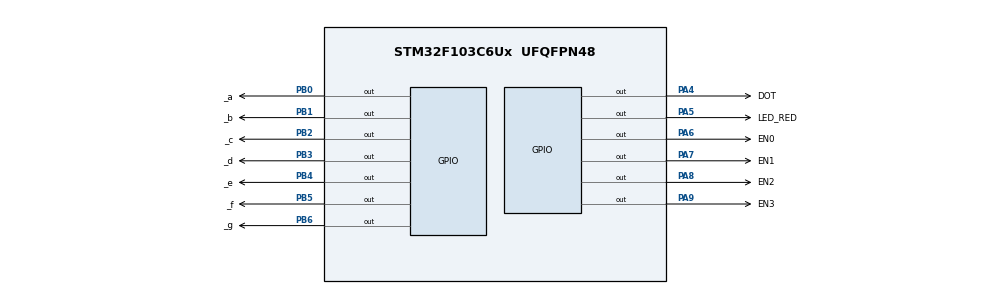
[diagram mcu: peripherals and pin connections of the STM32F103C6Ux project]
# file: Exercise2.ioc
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Mcu.Family=STM32F1
Mcu.Name=STM32F103C6Ux
Mcu.Package=UFQFPN48
NVIC.PriorityGroup=NVIC_PRIORITYGROUP_4
NVIC.TIM2_IRQn=true\:0\:0\:false\:false\:true\:true\:true\:true
PA4.GPIO_Label=DOT
PA4.Signal=GPIO_Output
PA5.GPIO_Label=LED_RED
PA5.Signal=GPIO_Output
PA6.GPIO_Label=EN0
PA6.Signal=GPIO_Output
PA7.GPIO_Label=EN1
PA7.Signal=GPIO_Output
PA8.GPIO_Label=EN2
PA8.Signal=GPIO_Output
PA9.GPIO_Label=EN3
PA9.Signal=GPIO_Output
PB0.GPIO_Label=_a
PB0.Signal=GPIO_Output
PB1.GPIO_Label=_b
PB1.Signal=GPIO_Output
PB2.GPIO_Label=_c
PB2.Signal=GPIO_Output
PB3.GPIO_Label=_d
PB3.Signal=GPIO_Output
PB4.GPIO_Label=_e
PB4.Signal=GPIO_Output
PB5.GPIO_Label=_f
PB5.Signal=GPIO_Output
PB6.GPIO_Label=_g
PB6.Signal=GPIO_Output
ProjectManager.HeapSize=0x200
ProjectManager.StackSize=0x400
ProjectManager.TargetToolchain=STM32CubeIDE
RCC.APB1Freq_Value=8000000
RCC.APB2Freq_Value=8000000
TIM2.Period=9
TIM2.Prescaler=7999
VP_TIM2_VS_ClockSourceINT.Mode=Internal
board=custom

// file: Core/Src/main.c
/* USER CODE BEGIN Header */
/**
  ******************************************************************************
  * @file           : main.c
  * @brief          : Main program body
  ******************************************************************************
  * @attention
  *
  * Copyright (c) 2022 STMicroelectronics.
  * All rights reserved.
  *
  * This software is licensed under terms that can be found in the LICENSE file
  * in the root directory of this software component.
  * If no LICENSE file comes with this software, it is provided AS-IS.
  *
  ******************************************************************************
  */
/* USER CODE END Header */
#include "main.h"

/* USER CODE BEGIN Includes */
#include "software_timer.h"
/* USER CODE END Includes */

TIM_HandleTypeDef htim2;

void SystemClock_Config(void);
static void MX_GPIO_Init(void);
static void MX_TIM2_Init(void);

/* USER CODE BEGIN 0 */
void display7SEG (int num, GPIO_TypeDef * GPIO_TYPE, uint16_t a_Pin, uint16_t b_Pin, uint16_t c_Pin, uint16_t d_Pin, uint16_t e_Pin, uint16_t f_Pin, uint16_t g_Pin){
	switch (num){
		case 0:
			HAL_GPIO_WritePin(GPIO_TYPE, a_Pin, RESET);
			HAL_GPIO_WritePin(GPIO_TYPE, b_Pin, RESET);
			HAL_GPIO_WritePin(GPIO_TYPE, c_Pin, RESET);
			HAL_GPIO_WritePin(GPIO_TYPE, d_Pin, RESET);
			HAL_GPIO_WritePin(GPIO_TYPE, e_Pin, RESET);
			HAL_GPIO_WritePin(GPIO_TYPE, f_Pin, RESET);
			HAL_GPIO_WritePin(GPIO_TYPE, g_Pin, SET);
			break;
		case 1:
			HAL_GPIO_WritePin(GPIO_TYPE, a_Pin, SET);
			HAL_GPIO_WritePin(GPIO_TYPE, b_Pin, RESET);
			HAL_GPIO_WritePin(GPIO_TYPE, c_Pin, RESET);
			HAL_GPIO_WritePin(GPIO_TYPE, d_Pin, SET);
			HAL_GPIO_WritePin(GPIO_TYPE, e_Pin, SET);
			HAL_GPIO_WritePin(GPIO_TYPE, f_Pin, SET);
			HAL_GPIO_WritePin(GPIO_TYPE, g_Pin, SET);
			break;
		case 2:
			HAL_GPIO_WritePin(GPIO_TYPE, a_Pin, RESET);
			HAL_GPIO_WritePin(GPIO_TYPE, b_Pin, RESET);
			HAL_GPIO_WritePin(GPIO_TYPE, c_Pin, SET);
			HAL_GPIO_WritePin(GPIO_TYPE, d_Pin, RESET);
			HAL_GPIO_WritePin(GPIO_TYPE, e_Pin, RESET);
			HAL_GPIO_WritePin(GPIO_TYPE, f_Pin, SET);
			HAL_GPIO_WritePin(GPIO_TYPE, g_Pin, RESET);
			break;
		case 3:
			HAL_GPIO_WritePin(GPIO_TYPE, a_Pin, RESET);
			HAL_GPIO_WritePin(GPIO_TYPE, b_Pin, RESET);
			HAL_GPIO_WritePin(GPIO_TYPE, c_Pin, RESET);
			HAL_GPIO_WritePin(GPIO_TYPE, d_Pin, RESET);
			HAL_GPIO_WritePin(GPIO_TYPE, e_Pin, SET);
			HAL_GPIO_WritePin(GPIO_TYPE, f_Pin, SET);
			HAL_GPIO_WritePin(GPIO_TYPE, g_Pin, RESET);
			break;
		case 4:
			HAL_GPIO_WritePin(GPIO_TYPE, a_Pin, SET);
			HAL_GPIO_WritePin(GPIO_TYPE, b_Pin, RESET);
			HAL_GPIO_WritePin(GPIO_TYPE, c_Pin, RESET);
			HAL_GPIO_WritePin(GPIO_TYPE, d_Pin, SET);
			HAL_GPIO_WritePin(GPIO_TYPE, e_Pin, SET);
			HAL_GPIO_WritePin(GPIO_TYPE, f_Pin, RESET);
			HAL_GPIO_WritePin(GPIO_TYPE, g_Pin, RESET);
			break;
		case 5:
			HAL_GPIO_WritePin(GPIO_TYPE, a_Pin, RESET);
			HAL_GPIO_WritePin(GPIO_TYPE, b_Pin, SET);
			HAL_GPIO_WritePin(GPIO_TYPE, c_Pin, RESET);
			HAL_GPIO_WritePin(GPIO_TYPE, d_Pin, RESET);
			HAL_GPIO_WritePin(GPIO_TYPE, e_Pin, SET);
			HAL_GPIO_WritePin(GPIO_TYPE, f_Pin, RESET);
			HAL_GPIO_WritePin(GPIO_TYPE, g_Pin, RESET);
			break;
		case 6:
			HAL_GPIO_WritePin(GPIO_TYPE, a_Pin, RESET);
			HAL_GPIO_WritePin(GPIO_TYPE, b_Pin, SET);
			HAL_GPIO_WritePin(GPIO_TYPE, c_Pin, RESET);
			HAL_GPIO_WritePin(GPIO_TYPE, d_Pin, RESET);
			HAL_GPIO_WritePin(GPIO_TYPE, e_Pin, RESET);
			HAL_GPIO_WritePin(GPIO_TYPE, f_Pin, RESET);
			HAL_GPIO_WritePin(GPIO_TYPE, g_Pin, RESET);
			break;
		case 7:
			HAL_GPIO_WritePin(GPIO_TYPE, a_Pin, RESET);
			HAL_GPIO_WritePin(GPIO_TYPE, b_Pin, RESET);
			HAL_GPIO_WritePin(GPIO_TYPE, c_Pin, RESET);
			HAL_GPIO_WritePin(GPIO_TYPE, d_Pin, SET);
			HAL_GPIO_WritePin(GPIO_TYPE, e_Pin, SET);
			HAL_GPIO_WritePin(GPIO_TYPE, f_Pin, SET);
			HAL_GPIO_WritePin(GPIO_TYPE, g_Pin, SET);
			break;
		case 8:
			HAL_GPIO_WritePin(GPIO_TYPE, a_Pin, RESET);
			HAL_GPIO_WritePin(GPIO_TYPE, b_Pin, RESET);
			HAL_GPIO_WritePin(GPIO_TYPE, c_Pin, RESET);
			HAL_GPIO_WritePin(GPIO_TYPE, d_Pin, RESET);
			HAL_GPIO_WritePin(GPIO_TYPE, e_Pin, RESET);
			HAL_GPIO_WritePin(GPIO_TYPE, f_Pin, RESET);
			HAL_GPIO_WritePin(GPIO_TYPE, g_Pin, RESET);
			break;
		case 9:
			HAL_GPIO_WritePin(GPIO_TYPE, a_Pin, RESET);
			HAL_GPIO_WritePin(GPIO_TYPE, b_Pin, RESET);
			HAL_GPIO_WritePin(GPIO_TYPE, c_Pin, RESET);
			HAL_GPIO_WritePin(GPIO_TYPE, d_Pin, RESET);
			HAL_GPIO_WritePin(GPIO_TYPE, e_Pin, SET);
			HAL_GPIO_WritePin(GPIO_TYPE, f_Pin, RESET);
			HAL_GPIO_WritePin(GPIO_TYPE, g_Pin, RESET);
			break;
		default:
			break;
	}
}
/* USER CODE END 0 */

int main(void)
{

  /* MCU Configuration--------------------------------------------------------*/

  /* Reset of all peripherals, Initializes the Flash interface and the Systick. */
  HAL_Init();

  /* Configure the system clock */
  SystemClock_Config();

  /* Initialize all configured peripherals */
  MX_GPIO_Init();
  MX_TIM2_Init();
  /* USER CODE BEGIN 2 */
  HAL_TIM_Base_Start_IT (& htim2 );
  /* USER CODE END 2 */

  /* Infinite loop */
  /* USER CODE BEGIN WHILE */
  setTimer1(100);
  setTimer2(50);
  setTimer3(100);
  int status = 1;
  int minute = 30, hour = 0;
  int minute_1 = minute % 10;
  int minute_2 = minute / 10;
  int hour_1 = hour % 10;
  int hour_2 = hour / 10;
  while (1)
  {
	  if(timer1_flag == 1) {
		  setTimer1(100);
		  HAL_GPIO_TogglePin(LED_RED_GPIO_Port, LED_RED_Pin);
		  HAL_GPIO_TogglePin(DOT_GPIO_Port, DOT_Pin);
	  }
	  if(timer2_flag == 1) {
		  setTimer2(50);
		  if(status == 4) {
			  HAL_GPIO_WritePin(EN0_GPIO_Port, EN0_Pin, RESET);
			  HAL_GPIO_WritePin(EN1_GPIO_Port, EN1_Pin, SET);
			  HAL_GPIO_WritePin(EN2_GPIO_Port, EN2_Pin, SET);
			  HAL_GPIO_WritePin(EN3_GPIO_Port, EN3_Pin, SET);
			  display7SEG(hour_2, GPIOB, _a_Pin, _b_Pin, _c_Pin, _d_Pin, _e_Pin, _f_Pin, _g_Pin);
			  status = 1;
			  continue;
		  }
		  if(status == 3) {
			  HAL_GPIO_WritePin(EN0_GPIO_Port, EN0_Pin, SET);
			  HAL_GPIO_WritePin(EN1_GPIO_Port, EN1_Pin, RESET);
			  HAL_GPIO_WritePin(EN2_GPIO_Port, EN2_Pin, SET);
			  HAL_GPIO_WritePin(EN3_GPIO_Port, EN3_Pin, SET);
			  display7SEG(hour_1, GPIOB, _a_Pin, _b_Pin, _c_Pin, _d_Pin, _e_Pin, _f_Pin, _g_Pin);
			  status = 4;
		  }
		  if(status == 2) {
			  HAL_GPIO_WritePin(EN0_GPIO_Port, EN0_Pin, SET);
			  HAL_GPIO_WritePin(EN1_GPIO_Port, EN1_Pin, SET);
			  HAL_GPIO_WritePin(EN2_GPIO_Port, EN2_Pin, RESET);
			  HAL_GPIO_WritePin(EN3_GPIO_Port, EN3_Pin, SET);
			  display7SEG(minute_2, GPIOB, _a_Pin, _b_Pin, _c_Pin, _d_Pin, _e_Pin, _f_Pin, _g_Pin);
			  status = 3;
		  }
		  if(status == 1) {
			  HAL_GPIO_WritePin(EN0_GPIO_Port, EN0_Pin, SET);
			  HAL_GPIO_WritePin(EN1_GPIO_Port, EN1_Pin, SET);
			  HAL_GPIO_WritePin(EN2_GPIO_Port, EN2_Pin, SET);
			  HAL_GPIO_WritePin(EN3_GPIO_Port, EN3_Pin, RESET);
			  display7SEG(minute_1, GPIOB, _a_Pin, _b_Pin, _c_Pin, _d_Pin, _e_Pin, _f_Pin, _g_Pin);
			  status = 2;
		  }
	  }
	  if(timer3_flag == 1) {
		  setTimer3(6000);
		  minute_1 = minute % 10;
		  minute_2 = minute / 10;
		  hour_1 = hour % 10;
		  hour_2 = hour / 10;
		  minute++;
		  if(minute > 60) {
			  minute = 0;
			  hour++;
			  if(hour == 12) hour = 0;
		  }
	  }
    /* USER CODE END WHILE */

  }
}

void SystemClock_Config(void)
{
  RCC_OscInitTypeDef RCC_OscInitStruct = {0};
  RCC_ClkInitTypeDef RCC_ClkInitStruct = {0};

  /** Initializes the RCC Oscillators according to the specified parameters
  * in the RCC_OscInitTypeDef structure.
  */
  RCC_OscInitStruct.OscillatorType = RCC_OSCILLATORTYPE_HSI;
  RCC_OscInitStruct.HSIState = RCC_HSI_ON;
  RCC_OscInitStruct.HSICalibrationValue = RCC_HSICALIBRATION_DEFAULT;
  RCC_OscInitStruct.PLL.PLLState = RCC_PLL_NONE;
  if (HAL_RCC_OscConfig(&RCC_OscInitStruct) != HAL_OK)
  {
    Error_Handler();
  }

  /** Initializes the CPU, AHB and APB buses clocks
  */
  RCC_ClkInitStruct.ClockType = RCC_CLOCKTYPE_HCLK|RCC_CLOCKTYPE_SYSCLK
                              |RCC_CLOCKTYPE_PCLK1|RCC_CLOCKTYPE_PCLK2;
  RCC_ClkInitStruct.SYSCLKSource = RCC_SYSCLKSOURCE_HSI;
  RCC_ClkInitStruct.AHBCLKDivider = RCC_SYSCLK_DIV1;
  RCC_ClkInitStruct.APB1CLKDivider = RCC_HCLK_DIV1;
  RCC_ClkInitStruct.APB2CLKDivider = RCC_HCLK_DIV1;

  if (HAL_RCC_ClockConfig(&RCC_ClkInitStruct, FLASH_LATENCY_0) != HAL_OK)
  {
    Error_Handler();
  }
}

static void MX_TIM2_Init(void)
{

  TIM_ClockConfigTypeDef sClockSourceConfig = {0};
  TIM_MasterConfigTypeDef sMasterConfig = {0};

  htim2.Instance = TIM2;
  htim2.Init.Prescaler = 7999;
  htim2.Init.CounterMode = TIM_COUNTERMODE_UP;
  htim2.Init.Period = 9;
  htim2.Init.ClockDivision = TIM_CLOCKDIVISION_DIV1;
  htim2.Init.AutoReloadPreload = TIM_AUTORELOAD_PRELOAD_DISABLE;
  if (HAL_TIM_Base_Init(&htim2) != HAL_OK)
  {
    Error_Handler();
  }
  sClockSourceConfig.ClockSource = TIM_CLOCKSOURCE_INTERNAL;
  if (HAL_TIM_ConfigClockSource(&htim2, &sClockSourceConfig) != HAL_OK)
  {
    Error_Handler();
  }
  sMasterConfig.MasterOutputTrigger = TIM_TRGO_RESET;
  sMasterConfig.MasterSlaveMode = TIM_MASTERSLAVEMODE_DISABLE;
  if (HAL_TIMEx_MasterConfigSynchronization(&htim2, &sMasterConfig) != HAL_OK)
  {
    Error_Handler();
  }

}

static void MX_GPIO_Init(void)
{
  GPIO_InitTypeDef GPIO_InitStruct = {0};

  /* GPIO Ports Clock Enable */
  __HAL_RCC_GPIOA_CLK_ENABLE();
  __HAL_RCC_GPIOB_CLK_ENABLE();

  /*Configure GPIO pin Output Level */
  HAL_GPIO_WritePin(GPIOA, DOT_Pin|LED_RED_Pin|EN0_Pin|EN1_Pin
                          |EN2_Pin|EN3_Pin, GPIO_PIN_RESET);

  /*Configure GPIO pin Output Level */
  HAL_GPIO_WritePin(GPIOB, _a_Pin|_b_Pin|_c_Pin|_d_Pin
                          |_e_Pin|_f_Pin|_g_Pin, GPIO_PIN_RESET);

  /*Configure GPIO pins : DOT_Pin LED_RED_Pin EN0_Pin EN1_Pin
                           EN2_Pin EN3_Pin */
  GPIO_InitStruct.Pin = DOT_Pin|LED_RED_Pin|EN0_Pin|EN1_Pin
                          |EN2_Pin|EN3_Pin;
  GPIO_InitStruct.Mode = GPIO_MODE_OUTPUT_PP;
  GPIO_InitStruct.Pull = GPIO_NOPULL;
  GPIO_InitStruct.Speed = GPIO_SPEED_FREQ_LOW;
  HAL_GPIO_Init(GPIOA, &GPIO_InitStruct);

  /*Configure GPIO pins : _a_Pin _b_Pin _c_Pin _d_Pin
                           _e_Pin _f_Pin _g_Pin */
  GPIO_InitStruct.Pin = _a_Pin|_b_Pin|_c_Pin|_d_Pin
                          |_e_Pin|_f_Pin|_g_Pin;
  GPIO_InitStruct.Mode = GPIO_MODE_OUTPUT_PP;
  GPIO_InitStruct.Pull = GPIO_NOPULL;
  GPIO_InitStruct.Speed = GPIO_SPEED_FREQ_LOW;
  HAL_GPIO_Init(GPIOB, &GPIO_InitStruct);

}

/* USER CODE BEGIN 4 */
void HAL_TIM_PeriodElapsedCallback(TIM_HandleTypeDef *htim) {
	timerRun();
}
/* USER CODE END 4 */

void Error_Handler(void)
{
  __disable_irq();
  while (1)
  {
  }
}
